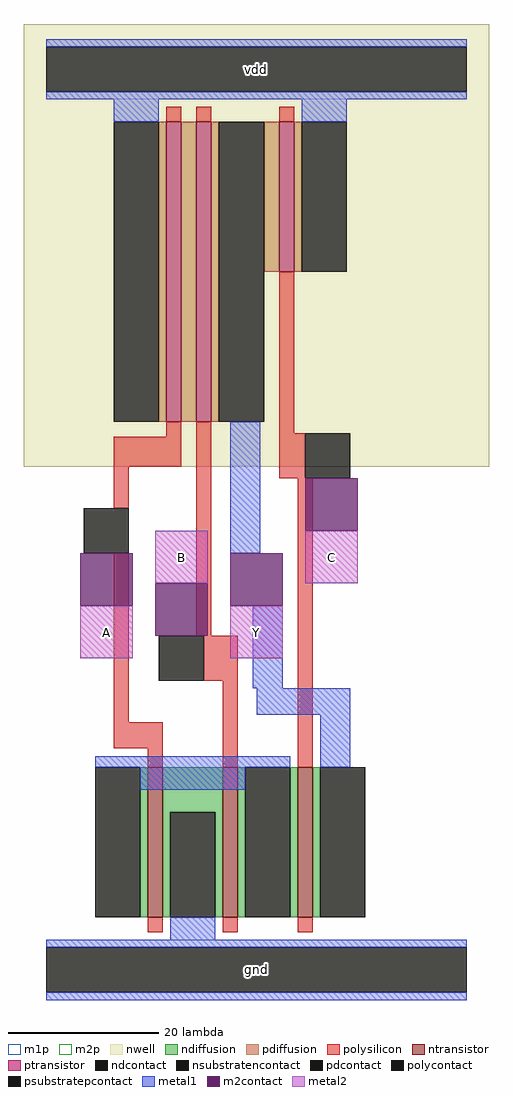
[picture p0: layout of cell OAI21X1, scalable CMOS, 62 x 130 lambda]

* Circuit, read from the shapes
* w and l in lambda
.subckt OAI21X1 A B C Y vdd gnd
M1 gnd A n1 gnd nfet w=20 l=2
M2 n1 B gnd gnd nfet w=20 l=2
M3 Y C n1 gnd nfet w=20 l=2
M4 n2 A vdd vdd pfet w=40 l=2
M5 Y B n2 vdd pfet w=40 l=2
M6 vdd C Y vdd pfet w=20 l=2
.ends

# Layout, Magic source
magic
tech scmos
magscale 1 2
<< nwell >>
rect -12 134 112 252
<< ntransistor >>
rect 21 14 25 54
rect 41 14 45 54
rect 61 14 65 54
<< ptransistor >>
rect 26 146 30 226
rect 34 146 38 226
rect 56 186 60 226
<< ndiffusion >>
rect 19 14 21 54
rect 25 42 41 54
rect 25 14 27 42
rect 39 14 41 42
rect 45 14 47 54
rect 59 14 61 54
rect 65 14 67 54
<< pdiffusion >>
rect 24 146 26 226
rect 30 146 34 226
rect 38 146 40 226
rect 52 186 56 226
rect 60 186 62 226
<< ndcontact >>
rect 7 14 19 54
rect 27 14 39 42
rect 47 14 59 54
rect 67 14 79 54
<< pdcontact >>
rect 12 146 24 226
rect 40 146 52 226
rect 62 186 74 226
<< psubstratepcontact >>
rect -6 -6 106 6
<< nsubstratencontact >>
rect -6 234 106 246
<< polysilicon >>
rect 26 226 30 230
rect 34 226 38 230
rect 56 226 60 230
rect 26 142 30 146
rect 12 134 30 142
rect 12 123 16 134
rect 12 66 16 111
rect 34 89 38 146
rect 56 143 60 186
rect 56 131 63 143
rect 36 77 45 89
rect 12 59 25 66
rect 21 54 25 59
rect 41 54 45 77
rect 61 54 65 131
rect 21 10 25 14
rect 41 10 45 14
rect 61 10 65 14
<< polycontact >>
rect 4 111 16 123
rect 63 131 75 143
rect 24 77 36 89
<< metal1 >>
rect -6 246 106 248
rect -6 232 106 234
rect 12 226 24 232
rect 62 226 74 232
rect 43 111 51 146
rect 49 75 57 97
rect 50 68 75 75
rect 7 54 59 57
rect 19 48 47 54
rect 67 54 75 68
rect 27 8 39 14
rect -6 6 106 8
rect -6 -8 106 -6
<< m2contact >>
rect 63 117 77 131
rect 3 97 17 111
rect 23 89 37 103
rect 43 97 57 111
<< metal2 >>
rect 3 83 17 97
rect 23 103 37 117
rect 63 103 77 117
rect 43 83 57 97
<< m1p >>
rect -6 232 106 248
rect -6 -8 106 8
<< m2p >>
rect 23 103 37 117
rect 63 103 77 117
rect 3 83 17 97
rect 43 83 57 97
<< labels >>
rlabel metal1 -6 -8 106 8 0 gnd
port 5 nsew ground bidirectional abutment
rlabel metal1 -6 232 106 248 0 vdd
port 4 nsew power bidirectional abutment
rlabel metal2 3 83 17 97 0 A
port 0 nsew signal input
rlabel metal2 23 103 37 117 0 B
port 1 nsew signal input
rlabel metal2 63 103 77 117 0 C
port 2 nsew signal input
rlabel metal2 43 83 57 97 0 Y
port 3 nsew signal output
<< properties >>
string FIXED_BBOX 0 0 100 240
string LEFclass CORE
string LEFsite core
string LEFsymmetry X Y
<< end >>
